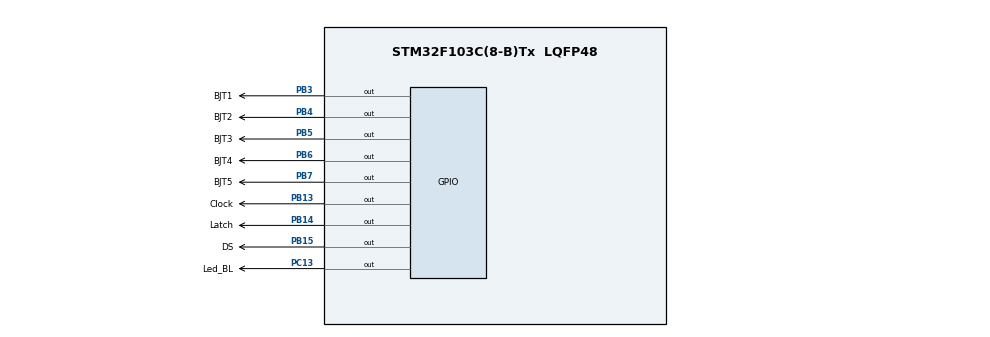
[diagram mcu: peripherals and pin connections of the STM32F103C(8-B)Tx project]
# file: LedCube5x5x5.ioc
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Mcu.Family=STM32F1
Mcu.Name=STM32F103C(8-B)Tx
Mcu.Package=LQFP48
NVIC.PriorityGroup=NVIC_PRIORITYGROUP_4
PA13.Mode=Serial_Wire
PA13.Signal=SYS_JTMS-SWDIO
PA14.Mode=Serial_Wire
PA14.Signal=SYS_JTCK-SWCLK
PB13.GPIO_Label=Clock
PB13.Signal=GPIO_Output
PB14.GPIO_Label=Latch
PB14.GPIO_PuPd=GPIO_PULLDOWN
PB14.Signal=GPIO_Output
PB15.GPIO_Label=DS
PB15.Signal=GPIO_Output
PB3.GPIO_Label=BJT1
PB3.GPIO_PuPd=GPIO_PULLDOWN
PB3.Signal=GPIO_Output
PB4.GPIO_Label=BJT2
PB4.GPIO_PuPd=GPIO_PULLDOWN
PB4.Signal=GPIO_Output
PB5.GPIO_Label=BJT3
PB5.GPIO_PuPd=GPIO_PULLDOWN
PB5.Signal=GPIO_Output
PB6.GPIO_Label=BJT4
PB6.GPIO_PuPd=GPIO_PULLDOWN
PB6.Signal=GPIO_Output
PB7.GPIO_Label=BJT5
PB7.GPIO_PuPd=GPIO_PULLDOWN
PB7.Signal=GPIO_Output
PC13-TAMPER-RTC.GPIO_Label=Led_BL
PC13-TAMPER-RTC.GPIO_PuPd=GPIO_PULLDOWN
PC13-TAMPER-RTC.Signal=GPIO_Output
ProjectManager.HeapSize=0x200
ProjectManager.StackSize=0x400
ProjectManager.TargetToolchain=STM32CubeIDE
RCC.APB1Freq_Value=8000000
RCC.APB2Freq_Value=8000000
board=custom

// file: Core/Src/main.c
/* USER CODE BEGIN Header */
/**
  ******************************************************************************
  * @file           : main.c
  * @brief          : Main program body
  ******************************************************************************
  * @attention
  *
  * Copyright (c) 2024 STMicroelectronics.
  * All rights reserved.
  *
  * This software is licensed under terms that can be found in the LICENSE file
  * in the root directory of this software component.
  * If no LICENSE file comes with this software, it is provided AS-IS.
  *
  ******************************************************************************
  */
/* USER CODE END Header */
#include "main.h"

void SystemClock_Config(void);
static void MX_GPIO_Init(void);

/* USER CODE BEGIN 0 */
int i = 0;
int A = 0;
int B = 0;
int T = 0;
int mangba[5][5][5] = {0};
void hienthi(int a[5][5][5],int);
void dich74hc595(int);
void mo74hc595();
void reset();
void tangz_on();
void tangz_off();
void plane(char, int);
int N = 0;
int Bodem = 0;
/* USER CODE END 0 */

int main(void)
{

  /* MCU Configuration--------------------------------------------------------*/

  /* Reset of all peripherals, Initializes the Flash interface and the Systick. */
  HAL_Init();

  /* Configure the system clock */
  SystemClock_Config();

  /* Initialize all configured peripherals */
  MX_GPIO_Init();
  /* USER CODE BEGIN 2 */

/*  HAL_Delay(500);

  for (int s   = 0; s  < 5; ++s ) {
	for (int t  = 0; t < 5; ++t) {
		mangba[s][t][0] = 0;
	}
}
  for (int s   = 1; s  < 5; ++s ) {
	for (int t  = 1; t < 5; ++t) {
		mangba[s][t][0] = 1;
		t++;
	}
	s++;
}
  hienthi(mangba,7);*/

  /* USER CODE END 2 */

  /* Infinite loop */
  while (1)
  {

    /* USER CODE BEGIN 3 */
	 HAL_GPIO_WritePin(Led_BL_GPIO_Port, Led_BL_Pin, 1);
	  /* code cho 3 trang thai cua ledcube*/
	  /* moi~ trang thai duoc dat trong if
	   * xac' dinh trang thai bang bien' dem' N
	   */
	  /*~~bat dau hieu ung 1~~bat dau hieu ung 1~~bat dau hieu ung 1~~bat dau hieu ung 1~~bat dau hieu ung 1~~*/
if(N == 0 || N == 4)
{
	N++;
	for (int z = 0; z < 5; ++z) {
		for (int x = 0; x < 5; ++x) {
			for (int y = 0; y < 5; ++y) {
				mangba[x][y][z] = 0;
			}
		}
	}/* reset gia tri trong mang? ve' 0 */
	for (int z = 0; z < 5; ++z) {
		for (int x = 0; x < 5; ++x) {
			for (int y = 0; y < 5; ++y) {
				if(x != 2 && y !=2)
				{
				mangba[x][y][z] = 1;
				}
				y++;
			}
			x++;
		}
	}/* nap gia tri vao mang?*/
	hienthi(mangba, 1);/* chuong trinh con dua gia tri trong mang? ra led*/
	if(N == 5)
	{
		N = 1;
	}
}
if(N == 1 || N == 3)
{
	N++;
	for (int z = 0; z < 5; ++z) {
		for (int x = 0; x < 5; ++x) {
			for (int y = 0; y < 5; ++y) {
				mangba[x][y][z] = 0;
			}
		}
	}
	for (int z = 0; z < 5; ++z) {
		for (int x = 1; x < 5; ++x) {
			for (int y = 1; y < 5; ++y) {
				mangba[x][y][z] = 1;
				y++;
			}
			x++;
		}
	}
	hienthi(mangba,1 );
}
if(N == 2 )
{
	N++;
	Bodem++;
	for (int z = 0; z < 5; ++z) {
		for (int x = 0; x < 5; ++x) {
			for (int y = 0; y < 5; ++y) {
				mangba[x][y][z] = 0;
			}
		}
	}

	mangba[2][2][2] = 1;
	hienthi(mangba,1 );
	if(Bodem == 2)
	{
		N = 6;
	}
}/*~~ket thuc hieu ung 1~~ket thuc hieu ung 1~~ket thuc hieu ung 1~~ket thuc hieu ung 1~~ket thuc hieu ung 1~~*/
/*~~bat dau hieu ung 2~~bat dau hieu ung 2~~bat dau hieu ung 2~~bat dau hieu ung 2~~bat dau hieu ung 2~~*/
	if(N == 6)
	{
		Bodem++;
		for (int z = 0; z < 5; ++z) {
			for (int x = 0; x < 5; ++x) {
				for (int y = 0; y < 5; ++y) {
					mangba[x][y][z] = 0;
				}
			}
		}
		hienthi(mangba, 1);
		for (int z = 0; z < 5; ++z) {
			for (int x = 0; x < 5; ++x) {
				for (int y = 0; y < 5; ++y) {
					mangba[x][y][z] = 1;
				}
			}
		}
		hienthi(mangba, 1);
		if(Bodem == 4)
		{
			N = 7;
		}
	}
	/*~~ket thuc hieu ung 2~~ket thuc hieu ung 2~~ket thuc hieu ung 2~~ket thuc hieu ung 2~~ket thuc hieu ung 2~~*/
	/*~~bat dau hieu ung 3~~bat dau hieu ung 3~~bat dau hieu ung 3~~bat dau hieu ung 3~~bat dau hieu ung 3~~*/
if(N == 7)
{
	plane('X',1);
}

  }

  /* USER CODE END 3 */
}

void SystemClock_Config(void)
{
  RCC_OscInitTypeDef RCC_OscInitStruct = {0};
  RCC_ClkInitTypeDef RCC_ClkInitStruct = {0};

  /** Initializes the RCC Oscillators according to the specified parameters
  * in the RCC_OscInitTypeDef structure.
  */
  RCC_OscInitStruct.OscillatorType = RCC_OSCILLATORTYPE_HSI;
  RCC_OscInitStruct.HSIState = RCC_HSI_ON;
  RCC_OscInitStruct.HSICalibrationValue = RCC_HSICALIBRATION_DEFAULT;
  RCC_OscInitStruct.PLL.PLLState = RCC_PLL_NONE;
  if (HAL_RCC_OscConfig(&RCC_OscInitStruct) != HAL_OK)
  {
    Error_Handler();
  }

  /** Initializes the CPU, AHB and APB buses clocks
  */
  RCC_ClkInitStruct.ClockType = RCC_CLOCKTYPE_HCLK|RCC_CLOCKTYPE_SYSCLK
                              |RCC_CLOCKTYPE_PCLK1|RCC_CLOCKTYPE_PCLK2;
  RCC_ClkInitStruct.SYSCLKSource = RCC_SYSCLKSOURCE_HSI;
  RCC_ClkInitStruct.AHBCLKDivider = RCC_SYSCLK_DIV1;
  RCC_ClkInitStruct.APB1CLKDivider = RCC_HCLK_DIV1;
  RCC_ClkInitStruct.APB2CLKDivider = RCC_HCLK_DIV1;

  if (HAL_RCC_ClockConfig(&RCC_ClkInitStruct, FLASH_LATENCY_0) != HAL_OK)
  {
    Error_Handler();
  }
}

static void MX_GPIO_Init(void)
{
  GPIO_InitTypeDef GPIO_InitStruct = {0};

  /* GPIO Ports Clock Enable */
  __HAL_RCC_GPIOC_CLK_ENABLE();
  __HAL_RCC_GPIOB_CLK_ENABLE();
  __HAL_RCC_GPIOA_CLK_ENABLE();

  /*Configure GPIO pin Output Level */
  HAL_GPIO_WritePin(Led_BL_GPIO_Port, Led_BL_Pin, GPIO_PIN_RESET);

  /*Configure GPIO pin Output Level */
  HAL_GPIO_WritePin(GPIOB, Clock_Pin|Latch_Pin|DS_Pin|BJT1_Pin
                          |BJT2_Pin|BJT3_Pin|BJT4_Pin|BJT5_Pin, GPIO_PIN_RESET);

  /*Configure GPIO pin : Led_BL_Pin */
  GPIO_InitStruct.Pin = Led_BL_Pin;
  GPIO_InitStruct.Mode = GPIO_MODE_OUTPUT_PP;
  GPIO_InitStruct.Pull = GPIO_PULLDOWN;
  GPIO_InitStruct.Speed = GPIO_SPEED_FREQ_LOW;
  HAL_GPIO_Init(Led_BL_GPIO_Port, &GPIO_InitStruct);

  /*Configure GPIO pins : Clock_Pin DS_Pin */
  GPIO_InitStruct.Pin = Clock_Pin|DS_Pin;
  GPIO_InitStruct.Mode = GPIO_MODE_OUTPUT_PP;
  GPIO_InitStruct.Pull = GPIO_NOPULL;
  GPIO_InitStruct.Speed = GPIO_SPEED_FREQ_LOW;
  HAL_GPIO_Init(GPIOB, &GPIO_InitStruct);

  /*Configure GPIO pins : Latch_Pin BJT1_Pin BJT2_Pin BJT3_Pin
                           BJT4_Pin BJT5_Pin */
  GPIO_InitStruct.Pin = Latch_Pin|BJT1_Pin|BJT2_Pin|BJT3_Pin
                          |BJT4_Pin|BJT5_Pin;
  GPIO_InitStruct.Mode = GPIO_MODE_OUTPUT_PP;
  GPIO_InitStruct.Pull = GPIO_PULLDOWN;
  GPIO_InitStruct.Speed = GPIO_SPEED_FREQ_LOW;
  HAL_GPIO_Init(GPIOB, &GPIO_InitStruct);

}

/* USER CODE BEGIN 4 */
void hienthi(int mangba[5][5][5], int Solan){/* Solan la' thoi sang cua mot lan' hien thi*/
	for(int t = 0; t < Solan; t++ )
	{
        for (int z=0; z<5; z++) {
          for (int x=0; x<5; x++) {
            for (int y=0; y<5; y++) {
              dich74hc595(mangba[x][y][z]);
            }
          }
          mo74hc595();
          tangz_on(z);
          HAL_Delay(30); /* thoi gian sang cua moi~ tang' */
          tangz_off(z);
          reset();
      }
	}
}
void dich74hc595(int a)
{
    if (a==0) {
    	HAL_GPIO_WritePin(DS_GPIO_Port, DS_Pin, 0);
    	HAL_GPIO_WritePin(Clock_GPIO_Port, Clock_Pin,0);
    	HAL_GPIO_WritePin(Clock_GPIO_Port, Clock_Pin,1);

    } else if(a==1) {
    	HAL_GPIO_WritePin(DS_GPIO_Port, DS_Pin, 1);
    	HAL_GPIO_WritePin(Clock_GPIO_Port, Clock_Pin,0);
    	HAL_GPIO_WritePin(Clock_GPIO_Port, Clock_Pin,1);
    }
}
void mo74hc595()
{
	  HAL_GPIO_WritePin(Latch_GPIO_Port, Latch_Pin, GPIO_PIN_SET);
	  HAL_GPIO_WritePin(Latch_GPIO_Port, Latch_Pin, GPIO_PIN_RESET);
}
void reset() {
    for (int t=0; t<25; t++) {
        dich74hc595(0);
    }
    mo74hc595();
}
void tangz_on(int z)
{
	switch (z) {
		case 0:
			HAL_GPIO_WritePin(BJT1_GPIO_Port, BJT1_Pin, 1);
			break;
		case 1:
			HAL_GPIO_WritePin(BJT2_GPIO_Port, BJT2_Pin, 1);
			break;
		case 2:
			HAL_GPIO_WritePin(BJT3_GPIO_Port, BJT3_Pin, 1);
			break;
		case 3:
			HAL_GPIO_WritePin(BJT4_GPIO_Port, BJT4_Pin, 1);
			break;
		case 4:
			HAL_GPIO_WritePin(BJT5_GPIO_Port, BJT5_Pin, 1);
			break;
		default:
			break;
	}
}
void tangz_off(int z)
{
	switch (z) {
		case 0:
			HAL_GPIO_WritePin(BJT1_GPIO_Port, BJT1_Pin, 0);
			break;
		case 1:
			HAL_GPIO_WritePin(BJT2_GPIO_Port, BJT2_Pin, 0);
			break;
		case 2:
			HAL_GPIO_WritePin(BJT3_GPIO_Port, BJT3_Pin, 0);
			break;
		case 3:
			HAL_GPIO_WritePin(BJT4_GPIO_Port, BJT4_Pin, 0);
			break;
		case 4:
			HAL_GPIO_WritePin(BJT5_GPIO_Port, BJT5_Pin, 0);
			break;
		default:
			break;
	}
}
void plane(char truc, int Solan)
{
    int mangba[5][5][5] = { 0 };
    for (int i = 0; i < 5; i++)
    {
        for (int z = 0; z < 5; z++)
        {
            for (int x = 0; x < 5; x++)
            {
                for (int y = 0; y < 5; y++)
                {
                    mangba[x][y][z] = 0;
                    if (truc == 'X')
                    {
                        mangba[i][y][z] = 1;
                    }
                    if (truc == 'Y')
                    {
                        mangba[x][i][z] = 1;
                    }
                    if (truc == 'Z')
                    {
                        mangba[x][y][i] = 1;
                    }
                }
            }
        }
        hienthi(mangba, Solan);
    }
    for (int i = 3; i >= 0; i--)
    {
        for (int z = 0; z < 5; z++)
        {
            for (int x = 0; x < 5; x++)
            {
                for (int y = 0; y < 5; y++)
                {
                    mangba[4 - x][4 - y][4 - z] = 0;
                    if (truc == 'X')
                    {
                        mangba[i][4 - y][4 - z] = 1;
                    }
                    if (truc == 'Y')
                    {
                        mangba[4 - x][i][4 - z] = 1;
                    }
                    if (truc == 'Z')
                    {
                        mangba[4 - x][4 - y][i] = 1;
                    }
                }
            }
        }
        hienthi(mangba, Solan);
    }
}
/* USER CODE END 4 */

void Error_Handler(void)
{
  __disable_irq();
  while (1)
  {
  }
}
